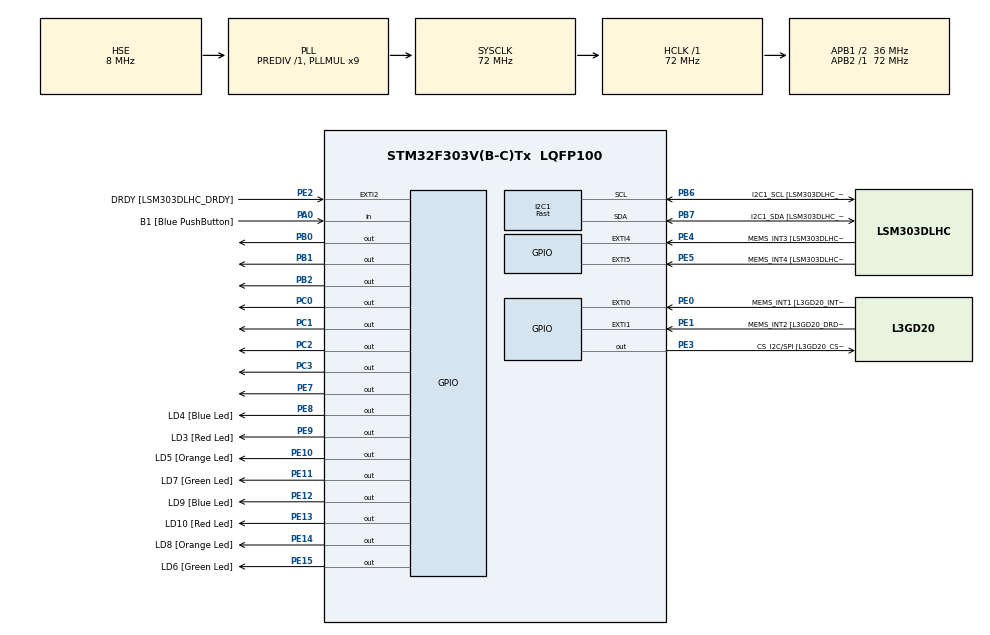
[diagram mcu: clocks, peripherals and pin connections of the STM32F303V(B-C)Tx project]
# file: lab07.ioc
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I2C1.I2C_Speed_Mode=I2C_Fast
I2C1.Timing=0x0000020B
Mcu.Family=STM32F3
Mcu.Name=STM32F303V(B-C)Tx
Mcu.Package=LQFP100
NVIC.PriorityGroup=NVIC_PRIORITYGROUP_0
PA0.GPIO_Label=B1 [Blue PushButton]
PA0.GPIO_Mode=GPIO_MODE_INPUT
PA0.GPIO_PuPd=GPIO_NOPULL
PA0.Signal=GPIO_Input
PA11.GPIO_Label=DM
PA11.Signal=USB_DM
PA12.GPIO_Label=DP
PA12.Signal=USB_DP
PA13.GPIO_Label=SWDIO
PA13.Signal=SYS_JTMS-SWDIO
PA14.GPIO_Label=SWCLK
PA14.Signal=SYS_JTCK-SWCLK
PA5.GPIO_Label=SPI1_SCK [L3GD20_SCL/SPC]
PA5.GPIO_Mode=GPIO_MODE_AF_PP
PA5.GPIO_PuPd=GPIO_NOPULL
PA5.GPIO_Speed=GPIO_SPEED_FREQ_LOW
PA5.Signal=SPI1_SCK
PA6.GPIO_Label=SPI1_MISO [L3GD20_SA0/SDO]
PA6.GPIO_Mode=GPIO_MODE_AF_PP
PA6.GPIO_PuPd=GPIO_NOPULL
PA6.GPIO_Speed=GPIO_SPEED_FREQ_LOW
PA6.Signal=SPI1_MISO
PA7.GPIO_Label=SPI1_MISO [L3GD20_SDA/SDI/SDO]
PA7.GPIO_Mode=GPIO_MODE_AF_PP
PA7.GPIO_PuPd=GPIO_NOPULL
PA7.GPIO_Speed=GPIO_SPEED_FREQ_LOW
PA7.Signal=SPI1_MOSI
PB0.Signal=GPIO_Output
PB1.Signal=GPIO_Output
PB2.Signal=GPIO_Output
PB3.GPIO_Label=SWO
PB3.Signal=SYS_JTDO-TRACESWO
PB6.GPIO_FM6=__NULL
PB6.GPIO_Label=I2C1_SCL [LSM303DLHC_SCL]
PB6.GPIO_Mode=GPIO_MODE_AF_OD
PB6.GPIO_PuPd=GPIO_NOPULL
PB6.GPIO_Speed=GPIO_SPEED_FREQ_LOW
PB6.Mode=I2C
PB6.Signal=I2C1_SCL
PB7.GPIO_FM7=__NULL
PB7.GPIO_Label=I2C1_SDA [LSM303DLHC_SDA]
PB7.GPIO_Mode=GPIO_MODE_AF_OD
PB7.GPIO_PuPd=GPIO_NOPULL
PB7.GPIO_Speed=GPIO_SPEED_FREQ_LOW
PB7.Mode=I2C
PB7.Signal=I2C1_SDA
PC0.Signal=GPIO_Output
PC1.Signal=GPIO_Output
PC14-OSC32_IN.GPIO_Label=OSC32_IN
PC14-OSC32_IN.Signal=RCC_OSC32_IN
PC15-OSC32_OUT.GPIO_Label=OSC32_OUT
PC15-OSC32_OUT.Signal=RCC_OSC32_OUT
PC2.Signal=GPIO_Output
PC3.Signal=GPIO_Output
PE0.GPIO_Label=MEMS_INT1 [L3GD20_INT1]
PE0.GPIO_ModeDefaultEXTI=GPIO_MODE_EVT_RISING
PE0.GPIO_PuPd=GPIO_NOPULL
PE0.Signal=GPXTI0
PE1.GPIO_Label=MEMS_INT2 [L3GD20_DRDY/INT2]
PE1.GPIO_ModeDefaultEXTI=GPIO_MODE_EVT_RISING
PE1.GPIO_PuPd=GPIO_NOPULL
PE1.Signal=GPXTI1
PE10.GPIO_Label=LD5 [Orange Led]
PE10.GPIO_ModeDefaultOutputPP=GPIO_MODE_OUTPUT_PP
PE10.GPIO_PuPd=GPIO_NOPULL
PE10.GPIO_Speed=GPIO_SPEED_FREQ_LOW
PE10.Signal=GPIO_Output
PE11.GPIO_Label=LD7 [Green Led]
PE11.GPIO_ModeDefaultOutputPP=GPIO_MODE_OUTPUT_PP
PE11.GPIO_PuPd=GPIO_NOPULL
PE11.GPIO_Speed=GPIO_SPEED_FREQ_LOW
PE11.Signal=GPIO_Output
PE12.GPIO_Label=LD9 [Blue Led]
PE12.GPIO_ModeDefaultOutputPP=GPIO_MODE_OUTPUT_PP
PE12.GPIO_PuPd=GPIO_NOPULL
PE12.GPIO_Speed=GPIO_SPEED_FREQ_LOW
PE12.Signal=GPIO_Output
PE13.GPIO_Label=LD10 [Red Led]
PE13.GPIO_ModeDefaultOutputPP=GPIO_MODE_OUTPUT_PP
PE13.GPIO_PuPd=GPIO_NOPULL
PE13.GPIO_Speed=GPIO_SPEED_FREQ_LOW
PE13.Signal=GPIO_Output
PE14.GPIO_Label=LD8 [Orange Led]
PE14.GPIO_ModeDefaultOutputPP=GPIO_MODE_OUTPUT_PP
PE14.GPIO_PuPd=GPIO_NOPULL
PE14.GPIO_Speed=GPIO_SPEED_FREQ_LOW
PE14.Signal=GPIO_Output
PE15.GPIO_Label=LD6 [Green Led]
PE15.GPIO_ModeDefaultOutputPP=GPIO_MODE_OUTPUT_PP
PE15.GPIO_PuPd=GPIO_NOPULL
PE15.GPIO_Speed=GPIO_SPEED_FREQ_LOW
PE15.Signal=GPIO_Output
PE2.GPIO_Label=DRDY [LSM303DLHC_DRDY]
PE2.GPIO_ModeDefaultEXTI=GPIO_MODE_EVT_RISING
PE2.GPIO_PuPd=GPIO_NOPULL
PE2.Signal=GPXTI2
PE3.GPIO_Label=CS_I2C/SPI [L3GD20_CS_I2C/SPI]
PE3.GPIO_ModeDefaultOutputPP=GPIO_MODE_OUTPUT_PP
PE3.GPIO_PuPd=GPIO_NOPULL
PE3.GPIO_Speed=GPIO_SPEED_FREQ_LOW
PE3.Signal=GPIO_Output
PE4.GPIO_Label=MEMS_INT3 [LSM303DLHC_INT1]
PE4.GPIO_ModeDefaultEXTI=GPIO_MODE_EVT_RISING
PE4.GPIO_PuPd=GPIO_NOPULL
PE4.Signal=GPXTI4
PE5.GPIO_Label=MEMS_INT4 [LSM303DLHC_INT2]
PE5.GPIO_ModeDefaultEXTI=GPIO_MODE_EVT_RISING
PE5.GPIO_PuPd=GPIO_NOPULL
PE5.Signal=GPXTI5
PE7.Signal=GPIO_Output
PE8.GPIO_Label=LD4 [Blue Led]
PE8.GPIO_ModeDefaultOutputPP=GPIO_MODE_OUTPUT_PP
PE8.GPIO_PuPd=GPIO_NOPULL
PE8.GPIO_Speed=GPIO_SPEED_FREQ_LOW
PE8.Signal=GPIO_Output
PE9.GPIO_Label=LD3 [Red Led]
PE9.GPIO_ModeDefaultOutputPP=GPIO_MODE_OUTPUT_PP
PE9.GPIO_PuPd=GPIO_NOPULL
PE9.GPIO_Speed=GPIO_SPEED_FREQ_LOW
PE9.Signal=GPIO_Output
PF0-OSC_IN.GPIO_Label=OSC_IN
PF0-OSC_IN.Mode=HSE-External-Clock-Source
PF0-OSC_IN.Signal=RCC_OSC_IN
PF1-OSC_OUT.GPIO_Label=OSC_OUT
PF1-OSC_OUT.Signal=RCC_OSC_OUT
ProjectManager.HeapSize=0x200
ProjectManager.StackSize=0x400
ProjectManager.TargetToolchain=MDK-ARM V5
RCC.AHBFreq_Value=72000000
RCC.APB1CLKDivider=RCC_HCLK_DIV2
RCC.APB1Freq_Value=36000000
RCC.APB1TimFreq_Value=72000000
RCC.APB2Freq_Value=72000000
RCC.APB2TimFreq_Value=72000000
RCC.CortexFreq_Value=72000000
RCC.HCLKFreq_Value=72000000
RCC.HSE_VALUE=8000000
RCC.HSI_VALUE=8000000
RCC.LSE_VALUE=32768
RCC.PLLMUL=RCC_PLL_MUL9
RCC.PLLSourceVirtual=RCC_PLLSOURCE_HSE
RCC.SYSCLKFreq_VALUE=72000000
RCC.SYSCLKSourceVirtual=RCC_SYSCLKSOURCE_PLLCLK
RCC.USBFreq_Value=72000000
board=STM32F3DISCOVERY

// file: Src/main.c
/* USER CODE BEGIN Header */
/**
  ******************************************************************************
  * @file           : main.c
  * @brief          : Main program body
  ******************************************************************************
  * @attention
  *
  * <h2><center>&copy; Copyright (c) 2019 STMicroelectronics.
  * All rights reserved.</center></h2>
  *
  * This software component is licensed by ST under BSD 3-Clause license,
  * the "License"; You may not use this file except in compliance with the
  * License. You may obtain a copy of the License at:
  *                        opensource.org/licenses/BSD-3-Clause
  *
  ******************************************************************************
  */
/* USER CODE END Header */

#include "main.h"

/* USER CODE BEGIN Includes */
#include "koibitoex_lcd2.h"
/* USER CODE END Includes */

I2C_HandleTypeDef hi2c1;

void SystemClock_Config(void);
static void MX_GPIO_Init(void);
static void MX_I2C1_Init(void);

/* USER CODE BEGIN 0 */

typedef struct accRawData_3d{
	uint16_t x;
	uint16_t y;
	uint16_t z;
}accRawData_3d_t;

uint8_t devSetting;
uint8_t accRaeData[6];

typedef struct g_3d{
	double x;
	double y;
	double z;
}g_3d_t;

g_3d_t g;
accRawData_3d_t accRawData3d;

uint8_t str[20];
/* USER CODE END 0 */

int main(void)
{

  /* MCU Configuration--------------------------------------------------------*/

  /* Reset of all peripherals, Initializes the Flash interface and the Systick. */
  HAL_Init();

  /* Configure the system clock */
  SystemClock_Config();

  /* Initialize all configured peripherals */
  MX_GPIO_Init();
  MX_I2C1_Init();
  /* USER CODE BEGIN 2 */
	devSetting = 0x47;
	HAL_I2C_Mem_Write(&hi2c1, 0x32, 0x20, 1, &devSetting, 1, 100);
	LcdInit();
	LcdCls(LCD_CLS_ALL);
	LcdSetBackLight(LCD_BACKLIGHT_ON);
	LcdSetCursor(LCD_CURSOR_OFF);
	LcdPutS("Axis");
	LcdSetPosition(LCD_LINE_1, 0);
  /* USER CODE END 2 */

  /* Infinite loop */
  while (1)
  {

    /* USER CODE BEGIN 3 */
			HAL_I2C_Mem_Read(&hi2c1, 0x32, (0x28 | 0x80), 1, accRaeData, 6, 100);

			accRawData3d.x = (uint16_t)((accRaeData[1] << 8) | accRaeData[0]);
			accRawData3d.y = (uint16_t)((accRaeData[3] << 8) | accRaeData[2]);
			accRawData3d.z = (uint16_t)((accRaeData[5] << 8) | accRaeData[4]);

			g.x = (4.0/65536)*accRawData3d.x *9.81;
			g.y = (4.0/65536)*accRawData3d.y * (-1.0) * 9.81;
			g.z = (4.0/65536)*accRawData3d.z * (-1.0) * 9.81;
			LcdSetPosition(LCD_LINE_2, 0);
			sprintf(str,"Z = %.3f ",g.z);
			LcdPutS(str);
			HAL_Delay(200);
			//LcdCls(LCD_CLS_ALL);
  }
  /* USER CODE END 3 */
}

void SystemClock_Config(void)
{
  RCC_OscInitTypeDef RCC_OscInitStruct = {0};
  RCC_ClkInitTypeDef RCC_ClkInitStruct = {0};
  RCC_PeriphCLKInitTypeDef PeriphClkInit = {0};

  /** Initializes the CPU, AHB and APB busses clocks
  */
  RCC_OscInitStruct.OscillatorType = RCC_OSCILLATORTYPE_HSI|RCC_OSCILLATORTYPE_HSE;
  RCC_OscInitStruct.HSEState = RCC_HSE_BYPASS;
  RCC_OscInitStruct.HSEPredivValue = RCC_HSE_PREDIV_DIV1;
  RCC_OscInitStruct.HSIState = RCC_HSI_ON;
  RCC_OscInitStruct.HSICalibrationValue = RCC_HSICALIBRATION_DEFAULT;
  RCC_OscInitStruct.PLL.PLLState = RCC_PLL_ON;
  RCC_OscInitStruct.PLL.PLLSource = RCC_PLLSOURCE_HSE;
  RCC_OscInitStruct.PLL.PLLMUL = RCC_PLL_MUL9;
  if (HAL_RCC_OscConfig(&RCC_OscInitStruct) != HAL_OK)
  {
    Error_Handler();
  }
  /** Initializes the CPU, AHB and APB busses clocks
  */
  RCC_ClkInitStruct.ClockType = RCC_CLOCKTYPE_HCLK|RCC_CLOCKTYPE_SYSCLK
                              |RCC_CLOCKTYPE_PCLK1|RCC_CLOCKTYPE_PCLK2;
  RCC_ClkInitStruct.SYSCLKSource = RCC_SYSCLKSOURCE_PLLCLK;
  RCC_ClkInitStruct.AHBCLKDivider = RCC_SYSCLK_DIV1;
  RCC_ClkInitStruct.APB1CLKDivider = RCC_HCLK_DIV2;
  RCC_ClkInitStruct.APB2CLKDivider = RCC_HCLK_DIV1;

  if (HAL_RCC_ClockConfig(&RCC_ClkInitStruct, FLASH_LATENCY_2) != HAL_OK)
  {
    Error_Handler();
  }
  PeriphClkInit.PeriphClockSelection = RCC_PERIPHCLK_I2C1;
  PeriphClkInit.I2c1ClockSelection = RCC_I2C1CLKSOURCE_HSI;
  if (HAL_RCCEx_PeriphCLKConfig(&PeriphClkInit) != HAL_OK)
  {
    Error_Handler();
  }
}

static void MX_I2C1_Init(void)
{

  hi2c1.Instance = I2C1;
  hi2c1.Init.Timing = 0x0000020B;
  hi2c1.Init.OwnAddress1 = 0;
  hi2c1.Init.AddressingMode = I2C_ADDRESSINGMODE_7BIT;
  hi2c1.Init.DualAddressMode = I2C_DUALADDRESS_DISABLE;
  hi2c1.Init.OwnAddress2 = 0;
  hi2c1.Init.OwnAddress2Masks = I2C_OA2_NOMASK;
  hi2c1.Init.GeneralCallMode = I2C_GENERALCALL_DISABLE;
  hi2c1.Init.NoStretchMode = I2C_NOSTRETCH_DISABLE;
  if (HAL_I2C_Init(&hi2c1) != HAL_OK)
  {
    Error_Handler();
  }
  /** Configure Analogue filter
  */
  if (HAL_I2CEx_ConfigAnalogFilter(&hi2c1, I2C_ANALOGFILTER_ENABLE) != HAL_OK)
  {
    Error_Handler();
  }
  /** Configure Digital filter
  */
  if (HAL_I2CEx_ConfigDigitalFilter(&hi2c1, 0) != HAL_OK)
  {
    Error_Handler();
  }

}

static void MX_GPIO_Init(void)
{
  GPIO_InitTypeDef GPIO_InitStruct = {0};

  /* GPIO Ports Clock Enable */
  __HAL_RCC_GPIOE_CLK_ENABLE();
  __HAL_RCC_GPIOC_CLK_ENABLE();
  __HAL_RCC_GPIOF_CLK_ENABLE();
  __HAL_RCC_GPIOA_CLK_ENABLE();
  __HAL_RCC_GPIOB_CLK_ENABLE();

  /*Configure GPIO pin Output Level */
  HAL_GPIO_WritePin(GPIOE, CS_I2C_SPI_Pin|GPIO_PIN_7|LD4_Pin|LD3_Pin
                          |LD5_Pin|LD7_Pin|LD9_Pin|LD10_Pin
                          |LD8_Pin|LD6_Pin, GPIO_PIN_RESET);

  /*Configure GPIO pin Output Level */
  HAL_GPIO_WritePin(GPIOC, GPIO_PIN_0|GPIO_PIN_1|GPIO_PIN_2|GPIO_PIN_3, GPIO_PIN_RESET);

  /*Configure GPIO pin Output Level */
  HAL_GPIO_WritePin(GPIOB, GPIO_PIN_0|GPIO_PIN_1|GPIO_PIN_2, GPIO_PIN_RESET);

  /*Configure GPIO pins : DRDY_Pin MEMS_INT3_Pin MEMS_INT4_Pin MEMS_INT1_Pin
                           MEMS_INT2_Pin */
  GPIO_InitStruct.Pin = DRDY_Pin|MEMS_INT3_Pin|MEMS_INT4_Pin|MEMS_INT1_Pin
                          |MEMS_INT2_Pin;
  GPIO_InitStruct.Mode = GPIO_MODE_EVT_RISING;
  GPIO_InitStruct.Pull = GPIO_NOPULL;
  HAL_GPIO_Init(GPIOE, &GPIO_InitStruct);

  /*Configure GPIO pins : CS_I2C_SPI_Pin PE7 LD4_Pin LD3_Pin
                           LD5_Pin LD7_Pin LD9_Pin LD10_Pin
                           LD8_Pin LD6_Pin */
  GPIO_InitStruct.Pin = CS_I2C_SPI_Pin|GPIO_PIN_7|LD4_Pin|LD3_Pin
                          |LD5_Pin|LD7_Pin|LD9_Pin|LD10_Pin
                          |LD8_Pin|LD6_Pin;
  GPIO_InitStruct.Mode = GPIO_MODE_OUTPUT_PP;
  GPIO_InitStruct.Pull = GPIO_NOPULL;
  GPIO_InitStruct.Speed = GPIO_SPEED_FREQ_LOW;
  HAL_GPIO_Init(GPIOE, &GPIO_InitStruct);

  /*Configure GPIO pins : PC0 PC1 PC2 PC3 */
  GPIO_InitStruct.Pin = GPIO_PIN_0|GPIO_PIN_1|GPIO_PIN_2|GPIO_PIN_3;
  GPIO_InitStruct.Mode = GPIO_MODE_OUTPUT_PP;
  GPIO_InitStruct.Pull = GPIO_NOPULL;
  GPIO_InitStruct.Speed = GPIO_SPEED_FREQ_LOW;
  HAL_GPIO_Init(GPIOC, &GPIO_InitStruct);

  /*Configure GPIO pin : B1_Pin */
  GPIO_InitStruct.Pin = B1_Pin;
  GPIO_InitStruct.Mode = GPIO_MODE_INPUT;
  GPIO_InitStruct.Pull = GPIO_NOPULL;
  HAL_GPIO_Init(B1_GPIO_Port, &GPIO_InitStruct);

  /*Configure GPIO pins : SPI1_SCK_Pin SPI1_MISO_Pin SPI1_MISOA7_Pin */
  GPIO_InitStruct.Pin = SPI1_SCK_Pin|SPI1_MISO_Pin|SPI1_MISOA7_Pin;
  GPIO_InitStruct.Mode = GPIO_MODE_AF_PP;
  GPIO_InitStruct.Pull = GPIO_NOPULL;
  GPIO_InitStruct.Speed = GPIO_SPEED_FREQ_LOW;
  GPIO_InitStruct.Alternate = GPIO_AF5_SPI1;
  HAL_GPIO_Init(GPIOA, &GPIO_InitStruct);

  /*Configure GPIO pins : PB0 PB1 PB2 */
  GPIO_InitStruct.Pin = GPIO_PIN_0|GPIO_PIN_1|GPIO_PIN_2;
  GPIO_InitStruct.Mode = GPIO_MODE_OUTPUT_PP;
  GPIO_InitStruct.Pull = GPIO_NOPULL;
  GPIO_InitStruct.Speed = GPIO_SPEED_FREQ_LOW;
  HAL_GPIO_Init(GPIOB, &GPIO_InitStruct);

  /*Configure GPIO pins : DM_Pin DP_Pin */
  GPIO_InitStruct.Pin = DM_Pin|DP_Pin;
  GPIO_InitStruct.Mode = GPIO_MODE_AF_PP;
  GPIO_InitStruct.Pull = GPIO_NOPULL;
  GPIO_InitStruct.Speed = GPIO_SPEED_FREQ_HIGH;
  GPIO_InitStruct.Alternate = GPIO_AF14_USB;
  HAL_GPIO_Init(GPIOA, &GPIO_InitStruct);

}

void Error_Handler(void)
{
}

/************************ (C) COPYRIGHT STMicroelectronics *****END OF FILE****/
